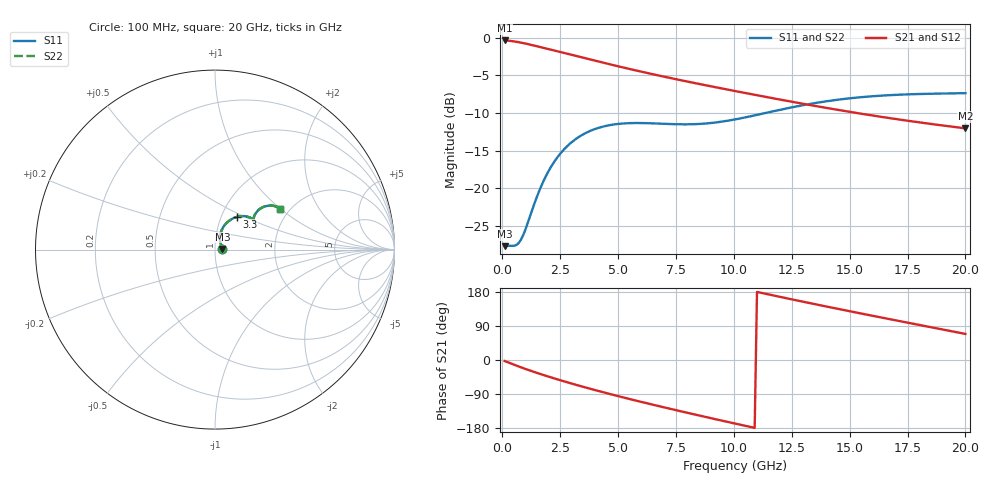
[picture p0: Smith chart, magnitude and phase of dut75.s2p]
! Touchstone file exported from HFSS 2023.1.0
!  File:  D:/Users/fzz/RDL_TSV/temp_RDL_TSV_75_1778747198.aedt
!  Generated:  4:38:18 %x4E0B%x5348  5%x6708 14, 2026
!  Design:  RDL_TSV
!  Project:  temp_RDL_TSV_75_1778747198
!  Setup:  Setup1
!  Solution:  Sweep
! Variables:
!  dtsv = 21.44um
!  hbump = 3um
!  htsv = 51.77um
!  ldown = 437.12um
!  lrdl = 660.11um
!  p = 40
!  p1 = 48.48um
!  rhole = 10um
!  subl = 3951.8um
!  t = 450um
!  tdown = 2.58um
!  trdl = 2.32um
!  viad = 10um
!  wdown = 21.81um
!  wrdl = 11.42um
!  xbump = 18um
# GHz S MA R 50.000000
! Terminal data exported
! Port[1] = TM1_1_T1
! Port[2] = TM1_4_T1
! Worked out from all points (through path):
!   200 points, 100 MHz to 20 GHz, reference 50 ohm
!   highest |S21| = -0.37 dB at 100 MHz (marker M1); lowest = -12.0 dB at 20 GHz (marker M2)
!   group delay of S21, straight-line fit = 38.8 ps
!   lowest |S11| = -27.7 dB at 100 MHz (marker M3), VSWR 1.09, Z = 54.3 + j0.379 ohm
!   |S11| at or under -10 dB: start of sweep to 11.36 GHz
!   |S22| runs from -27.7 to -7.3 dB; largest |S21 - S12| = 9e-15
!   S11 on the Smith chart (normalised r, x): 100 MHz: 1.09, +0.01; 3.3 GHz: 1.18, +0.45; 20 GHz: 1.78, +1.00
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0.1  0.04138 4.8  0.958 -2.5  0.958 -2.5  0.04138 4.8
! Gamma 0 0 0 0
! Port Impedance 50 0 50 0
0.6  0.04207 31.2  0.9393 -14.6  0.9393 -14.6  0.04209 31.2
0.8  0.04548 45.0  0.9272 -19.2  0.9272 -19.2  0.0455 44.9
1.2  0.0655 65.2  0.8991 -27.9  0.8991 -27.9  0.06548 65.1
1.6  0.09668 71.2  0.8691 -36.1  0.8691 -36.1  0.09662 71.1
2  0.1304 70.1  0.8394 -44.0  0.8394 -44.0  0.1303 70.1
2.4  0.1623 66.5  0.8104 -51.5  0.8104 -51.5  0.1622 66.4
2.8  0.1904 62.0  0.7823 -58.7  0.7823 -58.7  0.1902 61.9
3.3  0.2192 56.2  0.7484 -67.5  0.7484 -67.5  0.2189 56.2
3.5  0.2287 54.0  0.7353 -70.9  0.7353 -70.9  0.2284 54.0
4.3  0.2558 46.1  0.6855 -84.2  0.6855 -84.2  0.2554 46.1
5.2  0.2694 39.5  0.635 -98.4  0.635 -98.4  0.2688 39.4
6  0.2714 35.7  0.5948 -110.5  0.5948 -110.5  0.2707 35.7
6.8  0.2689 34.1  0.5587 -122.3  0.5587 -122.3  0.2681 34.1
8.4  0.2671 35.9  0.4965 -145.0  0.4965 -145.0  0.2663 35.9
10.1  0.2877 40.4  0.441 -168.4  0.441 -168.4  0.2872 40.5
11.8  0.3272 42.2  0.3933 169.1  0.3933 169.1  0.3271 42.4
13.4  0.3658 40.9  0.3548 148.6  0.3548 148.6  0.3662 41.1
15  0.3959 38.2  0.322 128.7  0.322 128.7  0.3966 38.3
16.7  0.4153 35.3  0.293 108.1  0.293 108.1  0.4164 35.3
18.3  0.4239 33.2  0.2704 89.0  0.2704 89.0  0.4254 33.2
20  0.4282 32.2  0.2502 68.8  0.2502 68.8  0.4299 32.1
